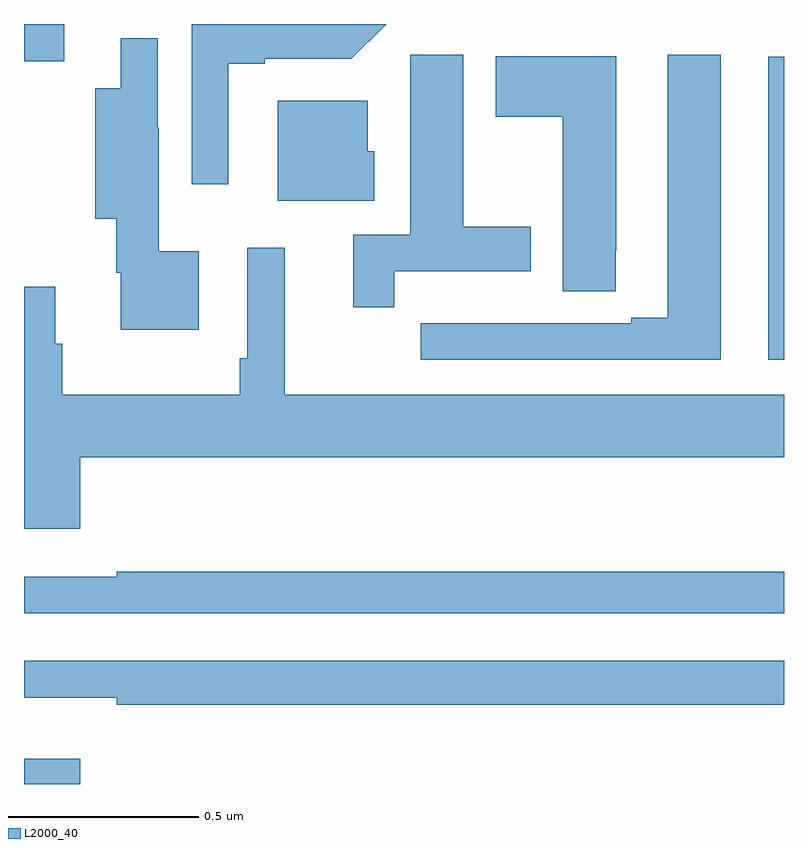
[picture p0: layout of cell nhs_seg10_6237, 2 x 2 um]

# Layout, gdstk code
import gdstk
lib = gdstk.Library(unit=1e-6, precision=1e-09)
def R(c, l, rs):  # rectangles x0, y0, x1, y1
    for r in rs: c.add(gdstk.rectangle(r[:2], r[2:], *l))
def P(c, l, *ps):  # polygons
    for p in ps: c.add(gdstk.Polygon(p, *l))
L2000_40 = (2000, 40)

nhs_seg10_6237 = lib.new_cell('nhs_seg10_6237')
R(nhs_seg10_6237, L2000_40, [(189,1255.5,189.148,1255.567), (190.958,1256.616,191,1257.414), (189,1257.402,189.106,1257.5)])
P(nhs_seg10_6237, L2000_40, [(189.538,1257.396),(189.634,1257.396),(189.634,1257.408),(189.861,1257.408),(189.953,1257.5),(189.441,1257.5),(189.441,1257.078),(189.538,1257.078)],
  [(189.46,1256.902),(189.354,1256.902),(189.354,1257.227),(189.352,1257.227),(189.352,1257.463),(189.254,1257.463),(189.254,1257.331),(189.187,1257.331),(189.187,1256.987),(189.243,1256.987),(189.243,1256.846),(189.255,1256.846),(189.255,1256.696),(189.46,1256.696)],
  [(189.974,1256.85),(190.333,1256.85),(190.333,1256.967),(190.156,1256.967),(190.156,1257.419),(190.017,1257.419),(190.017,1257.308),(190.016,1257.308),(190.016,1256.946),(189.866,1256.946),(189.866,1256.754),(189.974,1256.754)],
  [(190.834,1257.419),(190.694,1257.419),(190.694,1256.727),(190.598,1256.727),(190.598,1256.712),(190.322,1256.712),(190.322,1256.713),(190.156,1256.713),(190.156,1256.712),(190.044,1256.712),(190.044,1256.616),(190.834,1256.616)],
  [(190.557,1256.905),(190.558,1256.905),(190.558,1257.415),(190.241,1257.415),(190.241,1257.256),(190.418,1257.256),(190.418,1256.797),(190.557,1256.797)],
  [(189.922,1257.165),(189.904,1257.165),(189.904,1257.298),(189.668,1257.298),(189.668,1257.035),(189.922,1257.035)],
  [(189.148,1256.36),(191,1256.36),(191,1256.524),(189.686,1256.524),(189.686,1256.911),(189.588,1256.911),(189.588,1256.62),(189.568,1256.62),(189.568,1256.524),(189.101,1256.524),(189.101,1256.658),(189.082,1256.658),(189.082,1256.809),(189,1256.809),(189,1256.172),(189.148,1256.172)],
  [(191,1256.059),(189.244,1256.059),(189.244,1256.046),(189,1256.046),(189,1255.95),(191,1255.95)],
  [(191,1255.824),(189,1255.824),(189,1255.727),(189.244,1255.727),(189.244,1255.708),(191,1255.708)])

lib.write_gds('nhs_seg10_6237.gds')
